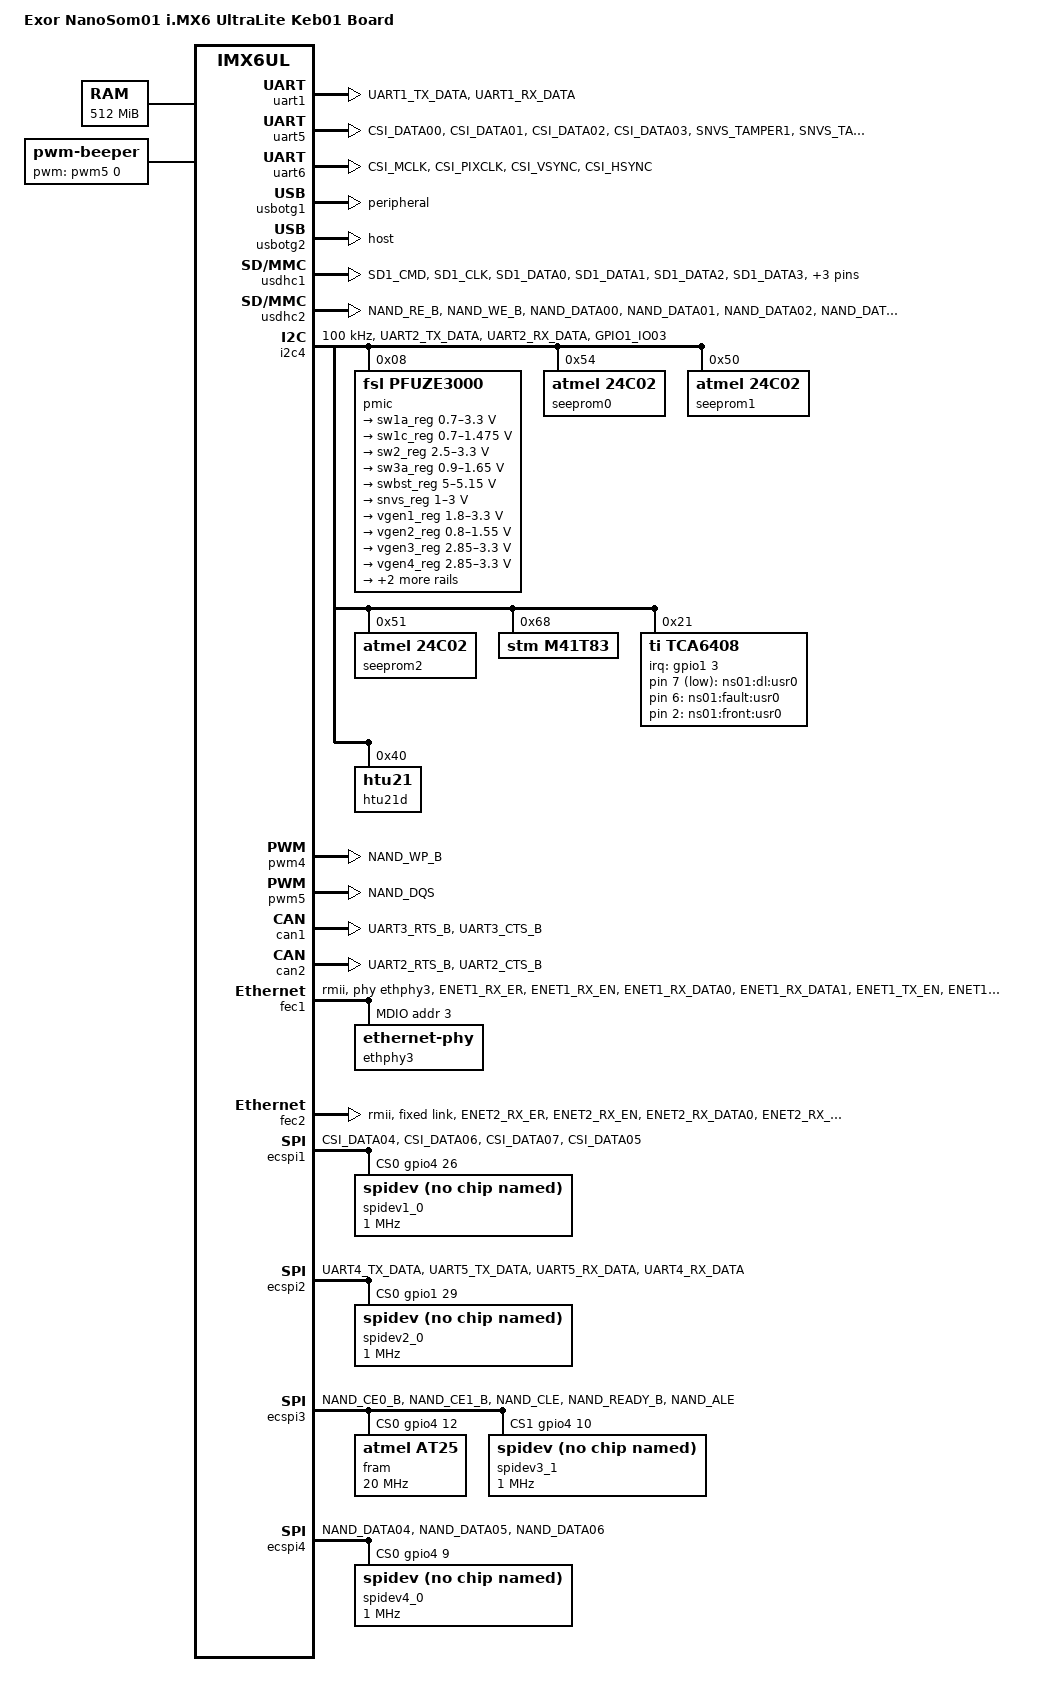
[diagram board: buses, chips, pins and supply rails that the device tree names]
/*
 * Copyright (C) 2018 Exor International.
 *
 * This program is free software; you can redistribute it and/or modify
 * it under the terms of the GNU General Public License version 2 as
 * published by the Free Software Foundation.
 */

/dts-v1/;

#include <dt-bindings/input/input.h>
#include "imx6ul.dtsi"

/ {
	model = "Exor NanoSom01 i.MX6 UltraLite Keb01 Board";
	compatible = "exor,ns01-keb01", "fsl,imx6ul";

	aliases {
		i2c3 = &i2c1;
		i2c1 = &i2c2;
		i2c2 = &i2c3;
		i2c0 = &i2c4;
	};

	chosen {
		stdout-path = &uart1;
	};

	memory {
		reg = <0x80000000 0x20000000>;
	};

	leds {
		compatible = "gpio-leds";

		led@1 {
			label = "ns01:dl:usr0";
			gpios = <&tca6408 7 1>;
			default-state = "on";
		};

		led@2 {
			label = "ns01:fault:usr0";
			gpios = <&tca6408 6 0>;
			default-state = "off";
		};

		led@3 {
			label = "ns01:front:usr0";
			gpios = <&tca6408 2 0>;
			linux,default-trigger = "timer";
		};
	};

	beeper {
		compatible = "pwm-beeper";
		pwms = <&pwm5 0 50000 0>;
	};
	
};

&clks {
	assigned-clocks = <&clks IMX6UL_CLK_PLL4_AUDIO_DIV>;
	assigned-clock-rates = <786432000>;
};

&cpu0 {
	arm-supply = <&reg_arm>;
	soc-supply = <&reg_soc>;
};

&gpc {
	fsl,cpu_pupscr_sw2iso = <0x2>;
	fsl,cpu_pupscr_sw = <0x1>;
	fsl,cpu_pdnscr_iso2sw = <0x1>;
	fsl,cpu_pdnscr_iso = <0x1>;
	fsl,wdog-reset = <1>; /* watchdog select of reset source */
	fsl,ldo-bypass = <1>; /* use ldo-bypass, u-boot will check it and configure */
};

&uart1 {
	/* Debug Serial port CN21 (Usb) */
	pinctrl-names = "default";
	pinctrl-0 = <&pinctrl_uart1>;
	status = "okay";
};

&uart5 {
	/* Main Serial port CN9 */
	pinctrl-names = "default";
	pinctrl-0 = <&pinctrl_uart5>;
	fsl,uart-has-rtscts;
	rts-gpio =  <&gpio5 6 0>;
	mode-gpio = <&gpio5 4 0>;
	rxen-gpio = <&gpio5 1 0>;
	status = "okay";
};

&uart6 {
	/* Plugin 1 Serial port CN15 */
	pinctrl-names = "default";
	pinctrl-0 = <&pinctrl_uart6>;
	fsl,uart-has-rtscts;
	status = "okay";
};

&usbotg1 {
	dr_mode = "peripheral";
	status = "okay";
};

&usbotg2 {
	dr_mode = "host";
	status = "okay";
};

&usdhc1 {
	pinctrl-names = "default";
	pinctrl-0 = <&pinctrl_usdhc1>;
	cd-gpios = <&gpio1 19 GPIO_ACTIVE_LOW>;
	keep-power-in-suspend;
	enable-sdio-wakeup;
	status = "okay";
};

&usdhc2 {
	pinctrl-names = "default";
	pinctrl-0 = <&pinctrl_usdhc2>;
	no-1-8-v;
	keep-power-in-suspend;
	enable-sdio-wakeup;
	status = "okay";
};

&i2c4 {
	clock-frequency = <100000>;
	pinctrl-names = "default";
	pinctrl-0 = <&pinctrl_i2c4>;
	status = "okay";

	pmic: pfuze3000@08 {
		compatible = "fsl,pfuze3000";
		reg = <0x08>;

		regulators {
			sw1a_reg: sw1a {
					regulator-min-microvolt = <700000>;
					regulator-max-microvolt = <3300000>;
					regulator-boot-on;
					regulator-always-on;
					regulator-ramp-delay = <6250>;
			};

			/* use sw1c_reg to align with pfuze100/pfuze200 */
			sw1c_reg: sw1b {
				regulator-min-microvolt = <700000>;
				regulator-max-microvolt = <1475000>;
				regulator-boot-on;
				regulator-always-on;
				regulator-ramp-delay = <6250>;
			};

			sw2_reg: sw2 {
				regulator-min-microvolt = <2500000>;
				regulator-max-microvolt = <3300000>;
				regulator-boot-on;
				regulator-always-on;
			};

			sw3a_reg: sw3 {
				regulator-min-microvolt = <900000>;
				regulator-max-microvolt = <1650000>;
				regulator-boot-on;
				regulator-always-on;
			};

			swbst_reg: swbst {
				regulator-min-microvolt = <5000000>;
				regulator-max-microvolt = <5150000>;
			};

			snvs_reg: vsnvs {
				regulator-min-microvolt = <1000000>;
				regulator-max-microvolt = <3000000>;
				regulator-boot-on;
				regulator-always-on;
			};

			vref_reg: vrefddr {
				regulator-boot-on;
				regulator-always-on;
			};

			vgen1_reg: vldo1 {
				regulator-min-microvolt = <1800000>;
				regulator-max-microvolt = <3300000>;
				regulator-always-on;
			};

			vgen2_reg: vldo2 {
				regulator-min-microvolt = <800000>;
				regulator-max-microvolt = <1550000>;
				regulator-always-on;
			};

			vgen3_reg: vccsd {
				regulator-min-microvolt = <2850000>;
				regulator-max-microvolt = <3300000>;
				regulator-always-on;
			};

			vgen4_reg: v33 {
				regulator-min-microvolt = <2850000>;
				regulator-max-microvolt = <3300000>;
				regulator-always-on;
			};

			vgen5_reg: vldo3 {
				regulator-min-microvolt = <1800000>;
				regulator-max-microvolt = <3300000>;
				regulator-always-on;
			};

			vgen6_reg: vldo4 {
				regulator-min-microvolt = <1800000>;
				regulator-max-microvolt = <3300000>;
				regulator-always-on;
			};
		};
	};

	seeprom0:seeprom0@54 {
		compatible = "atmel,24c02";
		reg = <0x54>;
	};

	seeprom1:seeprom1@50 {
		compatible = "atmel,24c02";
		reg = <0x50>;
	};

	seeprom2:seeprom2@51 {
		compatible = "atmel,24c02";
		reg = <0x51>;
	};
	
	m41t83:m41t83@68 {
		compatible = "stm,m41t83";
		reg = <0x68>;
	};

	tca6408: tca6408@21 {
		compatible = "ti,tca6408";
		interrupt-parent = <&gpio1>;
		interrupts = <3 0x8>;
		gpio-controller;
		#gpio-cells = <2>;
		interrupt-controller;
		#interrupt-cells = <2>;
		reg = <0x21>;
		restart-if-fails;
	};

	htu21d@40 {
		/* Temperature/humidity */
		compatible = "htu21";
		reg = <0x40>;
	};
};

&pwm4 {
	pinctrl-names = "default";
	pinctrl-0 = <&pinctrl_pwm4>;
	clocks = <&clks IMX6UL_CLK_PWM4>,
	 <&clks IMX6UL_CLK_PWM4>;
	status = "okay";
};

&pwm5 {
	pinctrl-names = "default";
	pinctrl-0 = <&pinctrl_pwm5>;
	clocks = <&clks IMX6UL_CLK_PWM5>,
	 <&clks IMX6UL_CLK_PWM5>;
	status = "okay";
};

&can1 {
	pinctrl-names = "default";
	pinctrl-0 = <&pinctrl_flexcan1>;
	status = "okay";
};

&can2 {
	pinctrl-names = "default";
	pinctrl-0 = <&pinctrl_flexcan2>;
	status = "okay";
};

&fec1 {
	pinctrl-names = "default";
	pinctrl-0 = <&pinctrl_enet1>;
	phy-mode = "rmii";
	phy-handle = <&ethphy3>;
	status = "okay";

	mdio {
		#address-cells = <1>;
		#size-cells = <0>;

		ethphy3: ethernet-phy@3 {
			reg = <3>;
		};
	};
};

&fec2 {
	pinctrl-names = "default";
	pinctrl-0 = <&pinctrl_enet2>;
	phy-mode = "rmii";
	status = "okay";

	fixed-link {
		speed = <100>;
		full-duplex;
	};
};

&ecspi1 {
	fsl,spi-num-chipselects = <1>;
	cs-gpios = <&gpio4 26 0>;
	pinctrl-names = "default";
	pinctrl-0 = <&pinctrl_ecspi1>;
	status = "okay";
	
	spidev1_0: spi1@0 {
		/* KAIROS */
		compatible = "generic,spidev";
		reg = <0>;
		spi-max-frequency = <1000000>;
	};
};

&ecspi2 {
	fsl,spi-num-chipselects = <1>;
	cs-gpios = <&gpio1 29 0>;
	pinctrl-names = "default";
	pinctrl-0 = <&pinctrl_ecspi2>;
	status = "okay";
	
	spidev2_0: spi2@0 {
		/* PLUGIN Module 1 */
		compatible = "generic,spidev";
		reg = <0>;
		spi-max-frequency = <1000000>;
	};
};

&ecspi3 {
	fsl,spi-num-chipselects = <2>;
	cs-gpios = <&gpio4 12 0>, <&gpio4 10 0>;
	pinctrl-names = "default";
	pinctrl-0 = <&pinctrl_ecspi3>;
	status = "okay";

	fram: at25@0 {
		/* CS3 FRAM */
		compatible = "atmel,at25", "st,m95256";
		reg = <0>;
		spi-max-frequency = <20000000>;
		pagesize = <64>;
		size = <65536>;
		address-width = <16>;
	};
	
	spidev3_1: spi3@1 {
		/* DISPLAY */
		compatible = "generic,spidev";
		reg = <1>;
		spi-max-frequency = <1000000>;
	};
};

&ecspi4 {
	fsl,spi-num-chipselects = <1>;
	cs-gpios = <&gpio4 9 0>;
	pinctrl-names = "default";
	pinctrl-0 = <&pinctrl_ecspi4>;
	status = "okay";
	
	spidev4_0: spi4@0 {
		/* PLUGIN Module 2 */
		compatible = "generic,spidev";
		reg = <0>;
		spi-max-frequency = <1000000>;
	};
};

&iomuxc {
	pinctrl-names = "default";
	imx6ul-keb01 {

		pinctrl_uart1: uart1grp {
			fsl,pins = <
				MX6UL_PAD_UART1_TX_DATA__UART1_DCE_TX      0x0001B0B1
				MX6UL_PAD_UART1_RX_DATA__UART1_DCE_RX      0x0001B0B1
			>;
		};

		pinctrl_uart5: uart5grp {
			fsl,pins = <
				MX6UL_PAD_CSI_DATA00__UART5_DCE_TX         0x0001B0B1
				MX6UL_PAD_CSI_DATA01__UART5_DCE_RX         0x0001B0B1
				MX6UL_PAD_CSI_DATA02__UART5_DCE_RTS        0x0001B0B1
				MX6UL_PAD_CSI_DATA03__UART5_DCE_CTS        0x0001B0B1
				MX6UL_PAD_SNVS_TAMPER1__GPIO5_IO01         0x0001B0B1
				MX6UL_PAD_SNVS_TAMPER4__GPIO5_IO04         0x0001B0B1
				MX6UL_PAD_SNVS_TAMPER6__GPIO5_IO06         0x0001B0B1
			>;
		};
		pinctrl_uart6: uart6grp {
			fsl,pins = <
				MX6UL_PAD_CSI_MCLK__UART6_DCE_TX           0x0001B0B1
				MX6UL_PAD_CSI_PIXCLK__UART6_DCE_RX         0x0001B0B1
				MX6UL_PAD_CSI_VSYNC__UART6_DCE_RTS         0x0001B0B1
				MX6UL_PAD_CSI_HSYNC__UART6_DCE_CTS         0x0001B0B1
			>;
		};

		pinctrl_usdhc1: usdhc1grp {
			fsl,pins = <
				MX6UL_PAD_SD1_CMD__USDHC1_CMD              0x00017059
				MX6UL_PAD_SD1_CLK__USDHC1_CLK              0x00017059
				MX6UL_PAD_SD1_DATA0__USDHC1_DATA0          0x00017059
				MX6UL_PAD_SD1_DATA1__USDHC1_DATA1          0x00017059
				MX6UL_PAD_SD1_DATA2__USDHC1_DATA2          0x00017059
				MX6UL_PAD_SD1_DATA3__USDHC1_DATA3          0x00017059
				MX6UL_PAD_UART1_CTS_B__GPIO1_IO18          0x00017059 /* WP */
				MX6UL_PAD_UART1_RTS_B__GPIO1_IO19          0x00017059 /* CD */
			>;
		};

		pinctrl_usdhc2: usdhc2grp {
			fsl,pins = <
				MX6UL_PAD_NAND_RE_B__USDHC2_CLK            0x00017059
				MX6UL_PAD_NAND_WE_B__USDHC2_CMD            0x00017059
				MX6UL_PAD_NAND_DATA00__USDHC2_DATA0        0x00017059
				MX6UL_PAD_NAND_DATA01__USDHC2_DATA1        0x00017059
				MX6UL_PAD_NAND_DATA02__USDHC2_DATA2        0x00017059
				MX6UL_PAD_NAND_DATA03__USDHC2_DATA3        0x00017059
			>;
		};

		pinctrl_i2c4: i2c4grp {
			fsl,pins = <
				MX6UL_PAD_UART2_TX_DATA__I2C4_SCL           0x4001b8b0
				MX6UL_PAD_UART2_RX_DATA__I2C4_SDA           0x4001b8b0
				MX6UL_PAD_GPIO1_IO03__GPIO1_IO03            0x00017059 /* IRQ */
			>;
		};

		pinctrl_pwm4: pwm4grp {
			fsl,pins = <
				MX6UL_PAD_NAND_WP_B__PWM4_OUT               0x000110b0
			>;
		};

		pinctrl_pwm5: pwm5grp {
			fsl,pins = <
				MX6UL_PAD_NAND_DQS__PWM5_OUT               0x0000110b0
			>;
		};

		pinctrl_flexcan1: flexcan1grp{
			fsl,pins = <
				MX6UL_PAD_UART3_RTS_B__FLEXCAN1_RX         0x00001b020
				MX6UL_PAD_UART3_CTS_B__FLEXCAN1_TX         0x00001b020
			>;
		};

		pinctrl_flexcan2: flexcan2grp{
			fsl,pins = <
				MX6UL_PAD_UART2_RTS_B__FLEXCAN2_RX         0x00001b020
				MX6UL_PAD_UART2_CTS_B__FLEXCAN2_TX         0x00001b020
			>;
		};

		pinctrl_ecspi1: ecspi1grp {
			fsl,pins = <
				MX6UL_PAD_CSI_DATA04__ECSPI1_SCLK          0x000010B0
				MX6UL_PAD_CSI_DATA06__ECSPI1_MOSI          0x000010B0
				MX6UL_PAD_CSI_DATA07__ECSPI1_MISO          0x000010B0
				MX6UL_PAD_CSI_DATA05__GPIO4_IO26           0x000010B0
			>;
		};

		pinctrl_ecspi2: ecspi2grp {
			fsl,pins = <
				MX6UL_PAD_UART4_TX_DATA__ECSPI2_SCLK       0x000010B0
				MX6UL_PAD_UART5_TX_DATA__ECSPI2_MOSI       0x000010B0
				MX6UL_PAD_UART5_RX_DATA__ECSPI2_MISO       0x000010B0
				MX6UL_PAD_UART4_RX_DATA__GPIO1_IO29        0x000010B0
			>;
		};

		pinctrl_ecspi3: ecspi3grp {
			fsl,pins = <
				MX6UL_PAD_NAND_CE0_B__ECSPI3_SCLK          0x000010B0
				MX6UL_PAD_NAND_CE1_B__ECSPI3_MOSI          0x000010B0
				MX6UL_PAD_NAND_CLE__ECSPI3_MISO            0x000010B0
				MX6UL_PAD_NAND_READY_B__GPIO4_IO12         0x000010B0
				MX6UL_PAD_NAND_ALE__GPIO4_IO10             0x000010B0
			>;
		};

		pinctrl_ecspi4: ecspi4grp {
			fsl,pins = <
				MX6UL_PAD_NAND_DATA04__ECSPI4_SCLK         0x000010B0
				MX6UL_PAD_NAND_DATA05__ECSPI4_MOSI         0x000010B0
				MX6UL_PAD_NAND_DATA06__ECSPI4_MISO         0x000010B0
				MX6UL_PAD_NAND_DATA04__ECSPI4_SCLK         0x000010B0
			 >;
		};

		pinctrl_enet1: enet1grp {
			fsl,pins = <
				MX6UL_PAD_ENET1_RX_ER__ENET1_RX_ER         0x0001b0b0
				MX6UL_PAD_ENET1_RX_EN__ENET1_RX_EN         0x0001b0b0
				MX6UL_PAD_ENET1_RX_DATA0__ENET1_RDATA00    0x0001b0b0
				MX6UL_PAD_ENET1_RX_DATA1__ENET1_RDATA01    0x0001b0b0
				MX6UL_PAD_ENET1_TX_EN__ENET1_TX_EN         0x0001b0b0
				MX6UL_PAD_ENET1_TX_CLK__ENET1_REF_CLK1     0x4b01b0a8
				MX6UL_PAD_ENET1_TX_DATA0__ENET1_TDATA00    0x0001b0b0
				MX6UL_PAD_ENET1_TX_DATA1__ENET1_TDATA01    0x0001b0b0

				MX6UL_PAD_GPIO1_IO06__ENET1_MDIO           0x0001b0b0
				MX6UL_PAD_GPIO1_IO07__ENET1_MDC            0x0001b0b0
			>;
		};

		pinctrl_enet2: enet2grp {
			fsl,pins = <
				MX6UL_PAD_ENET2_RX_ER__ENET2_RX_ER         0x0001b0b0
				MX6UL_PAD_ENET2_RX_EN__ENET2_RX_EN         0x0001b0b0
				MX6UL_PAD_ENET2_RX_DATA0__ENET2_RDATA00    0x0001b0b0
				MX6UL_PAD_ENET2_RX_DATA1__ENET2_RDATA01    0x0001b0b0
				MX6UL_PAD_ENET2_TX_EN__ENET2_TX_EN         0x0001b0b0
				MX6UL_PAD_ENET2_TX_CLK__ENET2_REF_CLK2     0x4b01b0a8
				MX6UL_PAD_ENET2_TX_DATA0__ENET2_TDATA00    0x0001b0b0
				MX6UL_PAD_ENET2_TX_DATA1__ENET2_TDATA01    0x0001b0b0
			>;
		};

	};
};
